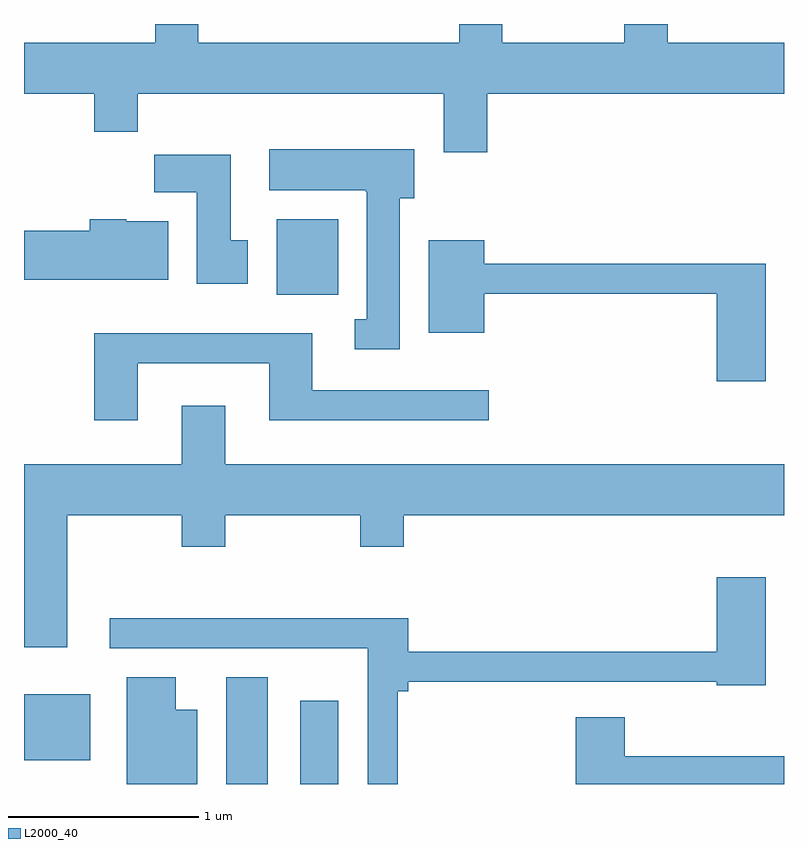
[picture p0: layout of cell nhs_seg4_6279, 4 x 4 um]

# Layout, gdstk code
import gdstk
lib = gdstk.Library(unit=1e-6, precision=1e-09)
def R(c, l, rs):  # rectangles x0, y0, x1, y1
    for r in rs: c.add(gdstk.rectangle(r[:2], r[2:], *l))
def P(c, l, *ps):  # polygons
    for p in ps: c.add(gdstk.Polygon(p, *l))
L2000_40 = (2000, 40)

nhs_seg4_6279 = lib.new_cell('nhs_seg4_6279')
R(nhs_seg4_6279, L2000_40, [(370.676,1299.982,370.894,1300.544), (371.066,1299.982,371.264,1300.419), (369.611,1300.106,369.959,1300.454), (370.941,1302.556,371.264,1302.954)])
P(nhs_seg4_6279, L2000_40, [(372.049,1303.616),(373.611,1303.616),(373.611,1303.884),(372.999,1303.884),(372.999,1303.982),(372.771,1303.982),(372.771,1303.884),(372.129,1303.884),(372.129,1303.982),(371.901,1303.982),(371.901,1303.884),(370.529,1303.884),(370.529,1303.982),(370.301,1303.982),(370.301,1303.884),(369.611,1303.884),(369.611,1303.616),(369.981,1303.616),(369.981,1303.416),(370.209,1303.416),(370.209,1303.616),(371.821,1303.616),(371.821,1303.306),(372.049,1303.306)],
  [(371.589,1303.066),(371.664,1303.066),(371.664,1303.324),(370.901,1303.324),(370.901,1303.106),(371.41,1303.106),(371.41,1303.1),(371.416,1303.1),(371.416,1302.429),(371.353,1302.429),(371.353,1302.271),(371.589,1302.271)],
  [(370.789,1302.844),(370.699,1302.844),(370.699,1303.294),(370.296,1303.294),(370.296,1303.096),(370.521,1303.096),(370.521,1302.616),(370.789,1302.616)],
  [(370.369,1302.944),(370.15,1302.944),(370.15,1302.954),(369.956,1302.954),(369.956,1302.894),(369.611,1302.894),(369.611,1302.636),(370.369,1302.636)],
  [(373.514,1302.719),(372.034,1302.719),(372.034,1302.844),(371.741,1302.844),(371.741,1302.356),(372.034,1302.356),(372.034,1302.561),(373.256,1302.561),(373.256,1302.101),(373.514,1302.101)],
  [(370.209,1302.196),(370.901,1302.196),(370.901,1301.896),(372.058,1301.896),(372.058,1302.054),(371.129,1302.054),(371.129,1302.354),(369.981,1302.354),(369.981,1301.896),(370.209,1301.896)],
  [(369.839,1301.396),(370.441,1301.396),(370.441,1301.231),(370.669,1301.231),(370.669,1301.396),(371.381,1301.396),(371.381,1301.231),(371.609,1301.231),(371.609,1301.396),(373.611,1301.396),(373.611,1301.664),(370.669,1301.664),(370.669,1301.974),(370.441,1301.974),(370.441,1301.664),(369.611,1301.664),(369.611,1300.701),(369.839,1300.701)],
  [(371.579,1300.471),(371.634,1300.471),(371.634,1300.521),(373.256,1300.521),(373.256,1300.501),(373.514,1300.501),(373.514,1301.069),(373.256,1301.069),(373.256,1300.679),(371.634,1300.679),(371.634,1300.854),(370.063,1300.854),(370.063,1300.696),(371.421,1300.696),(371.421,1299.982),(371.579,1299.982)],
  [(370.524,1300.374),(370.409,1300.374),(370.409,1300.544),(370.151,1300.544),(370.151,1299.982),(370.524,1299.982)],
  [(373.611,1300.129),(372.774,1300.129),(372.774,1300.334),(372.516,1300.334),(372.516,1299.982),(373.611,1299.982)])

lib.write_gds('nhs_seg4_6279.gds')
